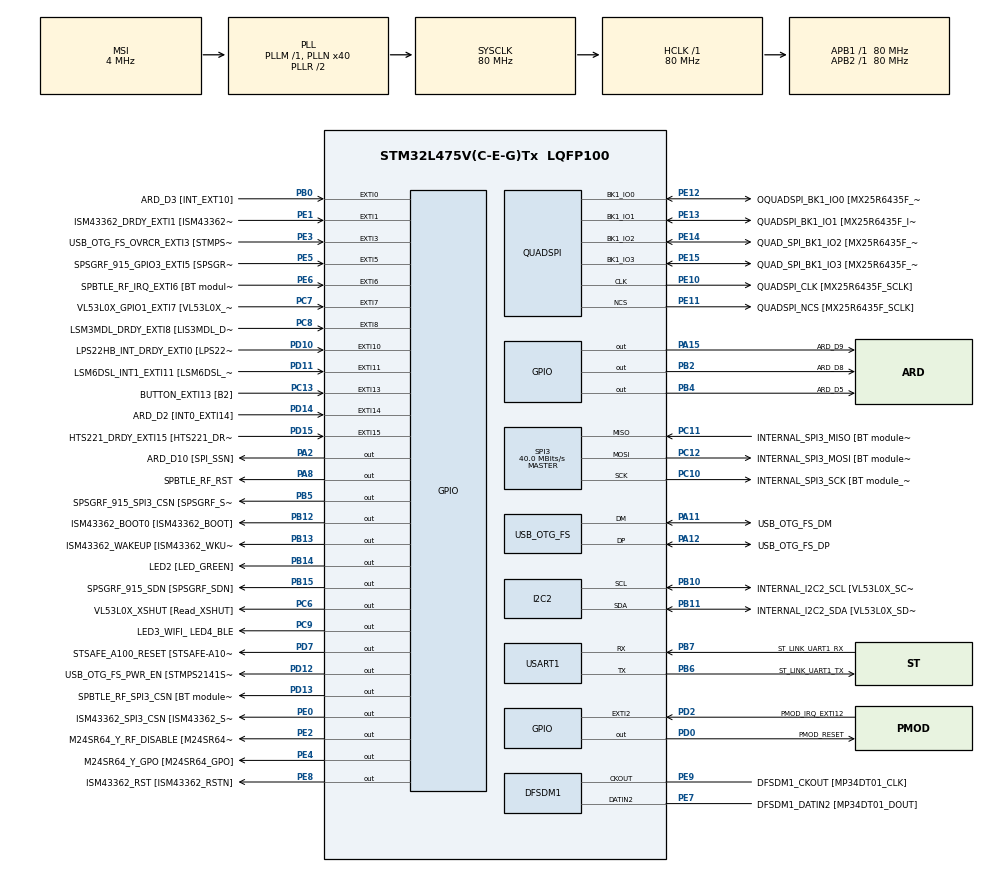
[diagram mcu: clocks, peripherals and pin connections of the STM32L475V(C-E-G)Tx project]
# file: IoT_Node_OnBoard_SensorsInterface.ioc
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Mcu.Family=STM32L4
Mcu.Name=STM32L475V(C-E-G)Tx
Mcu.Package=LQFP100
NVIC.EXTI15_10_IRQn=true\:0\:0\:false\:false\:true\:true\:true
NVIC.EXTI9_5_IRQn=true\:0\:0\:false\:false\:true\:true\:true
NVIC.PriorityGroup=NVIC_PRIORITYGROUP_4
PA0.GPIO_Label=ARD_D1 [UART4_TX]
PA0.Signal=UART4_TX
PA1.GPIO_Label=ARD_D0 [UART4_RX]
PA1.Signal=UART4_RX
PA10.GPIO_Label=USB_OTG_FS_ID
PA10.Signal=USB_OTG_FS_ID
PA11.GPIO_Label=USB_OTG_FS_DM
PA11.Mode=Device_Only
PA11.Signal=USB_OTG_FS_DM
PA12.GPIO_Label=USB_OTG_FS_DP
PA12.Mode=Device_Only
PA12.Signal=USB_OTG_FS_DP
PA13\ (JTMS-SWDIO).GPIO_Label=SYS_JTMS_SWDIO
PA13\ (JTMS-SWDIO).Mode=Serial_Wire
PA13\ (JTMS-SWDIO).Signal=SYS_JTMS-SWDIO
PA14\ (JTCK-SWCLK).GPIO_Label=SYS_JTCK_SWCLK
PA14\ (JTCK-SWCLK).Mode=Serial_Wire
PA14\ (JTCK-SWCLK).Signal=SYS_JTCK-SWCLK
PA15\ (JTDI).GPIO_Label=ARD_D9
PA15\ (JTDI).Signal=GPIO_Output
PA2.GPIO_Label=ARD_D10 [SPI_SSN]
PA2.Signal=GPIO_Output
PA3.GPIO_Label=ARD_D4
PA3.Signal=S_TIM2_CH4
PA4.GPIO_Label=ARD_D7
PA4.Signal=ADCx_IN9
PA5.GPIO_Label=ARD_D13 [SPI1_SCK]
PA5.Signal=SPI1_SCK
PA6.GPIO_Label=ARD_D12 [SPI1_MISO]
PA6.Signal=SPI1_MISO
PA7.GPIO_Label=ARD_D11 [SPI1_MOSI]
PA7.Signal=SPI1_MOSI
PA8.GPIO_Label=SPBTLE_RF_RST
PA8.Signal=GPIO_Output
PA9.GPIO_Label=USB_OTG_FS_VBUS [STMPS2141STR_OUT]
PA9.Signal=USB_OTG_FS_VBUS
PB0.GPIO_Label=ARD_D3 [INT_EXT10]
PB0.Signal=GPXTI0
PB1.GPIO_Label=ARD_D6 [ADC1_IN6]
PB1.Signal=ADCx_IN16
PB10.GPIO_Label=INTERNAL_I2C2_SCL [VL53L0X_SCL]
PB10.Mode=I2C
PB10.Signal=I2C2_SCL
PB11.GPIO_Label=INTERNAL_I2C2_SDA [VL53L0X_SDA]
PB11.Mode=I2C
PB11.Signal=I2C2_SDA
PB12.GPIO_Label=ISM43362_BOOT0 [ISM43362_BOOT]
PB12.Signal=GPIO_Output
PB13.GPIO_Label=ISM43362_WAKEUP [ISM43362_WKUP]
PB13.Signal=GPIO_Output
PB14.GPIO_Label=LED2 [LED_GREEN]
PB14.Signal=GPIO_Output
PB15.GPIO_Label=SPSGRF_915_SDN [SPSGRF_SDN]
PB15.Signal=GPIO_Output
PB2.GPIO_Label=ARD_D8
PB2.Signal=GPIO_Output
PB3\ (JTDO-TRACESWO).GPIO_Label=SYS_JTD0_SWO
PB3\ (JTDO-TRACESWO).Signal=SYS_JTDO-SWO
PB4\ (NJTRST).GPIO_Label=ARD_D5
PB4\ (NJTRST).Signal=GPIO_Output
PB5.GPIO_Label=SPSGRF_915_SPI3_CSN [SPSGRF_SPI_CS]
PB5.PinState=GPIO_PIN_SET
PB5.Signal=GPIO_Output
PB6.GPIO_Label=ST_LINK_UART1_TX
PB6.Mode=Asynchronous
PB6.Signal=USART1_TX
PB7.GPIO_Label=ST_LINK_UART1_RX
PB7.Mode=Asynchronous
PB7.Signal=USART1_RX
PB8.GPIO_Label=ARD_D15 [I2C1_SCL]
PB8.Signal=I2C1_SCL
PB9.GPIO_Label=ARD_D14 [I2C1_SDA]
PB9.Signal=I2C1_SDA
PC0.GPIO_Label=ARD_A5 [ADC]
PC0.Signal=ADCx_IN1
PC1.GPIO_Label=ARD_A4 [ADC]
PC1.Signal=ADCx_IN2
PC10.GPIO_Label=INTERNAL_SPI3_SCK [BT module_SPI_SCLK] [ISM43362_SCK]
PC10.Mode=Full_Duplex_Master
PC10.Signal=SPI3_SCK
PC11.GPIO_Label=INTERNAL_SPI3_MISO [BT module_SPI_MISO] [ISM43362_MISO]
PC11.Mode=Full_Duplex_Master
PC11.Signal=SPI3_MISO
PC12.GPIO_Label=INTERNAL_SPI3_MOSI [BT module_SPI_MOSI] [ISM43362_MOSI]
PC12.Mode=Full_Duplex_Master
PC12.Signal=SPI3_MOSI
PC13.GPIO_Label=BUTTON_EXTI13 [B2]
PC13.GPIO_ModeDefaultEXTI=GPIO_MODE_IT_FALLING
PC13.Signal=GPXTI13
PC14-OSC32_IN\ (PC14).Mode=LSE-External-Oscillator
PC14-OSC32_IN\ (PC14).Signal=RCC_OSC32_IN
PC15-OSC32_OUT\ (PC15).Mode=LSE-External-Oscillator
PC15-OSC32_OUT\ (PC15).Signal=RCC_OSC32_OUT
PC2.GPIO_Label=ARD_A3 [ADC]
PC2.Signal=ADCx_IN3
PC3.GPIO_Label=ARD_A2 [ADC]
PC3.Signal=ADCx_IN4
PC4.GPIO_Label=ARD_A1 [ADC]
PC4.Signal=ADCx_IN13
PC5.GPIO_Label=ARD_A0 [ADC]
PC5.Signal=ADCx_IN14
PC6.GPIO_Label=VL53L0X_XSHUT [Read_XSHUT]
PC6.Signal=GPIO_Output
PC7.GPIO_Label=VL53L0X_GPIO1_EXTI7 [VL53L0X_GPIO1]
PC7.Signal=GPXTI7
PC8.GPIO_Label=LSM3MDL_DRDY_EXTI8 [LIS3MDL_DRDY]
PC8.Signal=GPXTI8
PC9.GPIO_Label=LED3_WIFI_ LED4_BLE
PC9.Signal=GPIO_Output
PD0.GPIO_Label=PMOD_RESET
PD0.Signal=GPIO_Output
PD1.GPIO_Label=PMOD_SPI2_SCK
PD1.Signal=SPI2_SCK
PD10.GPIO_Label=LPS22HB_INT_DRDY_EXTI0 [LPS22HB_INT_DRDY] 
PD10.Signal=GPXTI10
PD11.GPIO_Label=LSM6DSL_INT1_EXTI11 [LSM6DSL_INT1]
PD11.Signal=GPXTI11
PD12.GPIO_Label=USB_OTG_FS_PWR_EN [STMPS2141STR_EN]
PD12.Signal=GPIO_Output
PD13.GPIO_Label=SPBTLE_RF_SPI3_CSN [BT module_SPI_CS]
PD13.PinState=GPIO_PIN_SET
PD13.Signal=GPIO_Output
PD14.GPIO_Label=ARD_D2 [INT0_EXTI14]
PD14.Signal=GPXTI14
PD15.GPIO_Label=HTS221_DRDY_EXTI15 [HTS221_DRDY]
PD15.Signal=GPXTI15
PD2.GPIO_Label=PMOD_IRQ_EXTI12
PD2.Signal=GPXTI2
PD3.GPIO_Label=PMOD_UART2_CTS
PD3.Signal=USART2_CTS
PD4.GPIO_Label=PMOD_UART2_RTS
PD4.Signal=USART2_RTS
PD5.GPIO_Label=PMOD_UART2_TX
PD5.Signal=USART2_TX
PD6.GPIO_Label=PMOD_UART2_RX
PD6.Signal=USART2_RX
PD7.GPIO_Label=STSAFE_A100_RESET [STSAFE-A100_RESET]
PD7.Signal=GPIO_Output
PD8.GPIO_Label=INTERNAL_UART3_TX [ISM43362_RX]
PD8.Signal=USART3_TX
PD9.GPIO_Label=INTERNAL_UART3_RX [ISM43362_TX]
PD9.Signal=USART3_RX
PE0.GPIO_Label=ISM43362_SPI3_CSN [ISM43362_SSN]
PE0.PinState=GPIO_PIN_SET
PE0.Signal=GPIO_Output
PE1.GPIO_Label=ISM43362_DRDY_EXTI1 [ISM43362_DATARDY]
PE1.Signal=GPXTI1
PE10.GPIO_Label=QUADSPI_CLK [MX25R6435F_SCLK]
PE10.Mode=Single Bank
PE10.Signal=QUADSPI_CLK
PE11.GPIO_Label=QUADSPI_NCS [MX25R6435F_SCLK]
PE11.Mode=Single Bank
PE11.Signal=QUADSPI_NCS
PE12.GPIO_Label=OQUADSPI_BK1_IO0 [MX25R6435F_IO0]
PE12.Mode=Single Bank
PE12.Signal=QUADSPI_BK1_IO0
PE13.GPIO_Label=QUADSPI_BK1_IO1 [MX25R6435F_IO1]
PE13.Mode=Single Bank
PE13.Signal=QUADSPI_BK1_IO1
PE14.GPIO_Label=QUAD_SPI_BK1_IO2 [MX25R6435F_IO2]
PE14.Mode=Single Bank
PE14.Signal=QUADSPI_BK1_IO2
PE15.GPIO_Label=QUAD_SPI_BK1_IO3 [MX25R6435F_IO3]
PE15.Mode=Single Bank
PE15.Signal=QUADSPI_BK1_IO3
PE2.GPIO_Label=M24SR64_Y_RF_DISABLE [M24SR64_RFDIS]
PE2.Signal=GPIO_Output
PE3.GPIO_Label=USB_OTG_FS_OVRCR_EXTI3 [STMPS2141STR_FAULT]
PE3.Signal=GPXTI3
PE4.GPIO_Label=M24SR64_Y_GPO [M24SR64_GPO]
PE4.Signal=GPIO_Output
PE5.GPIO_Label=SPSGRF_915_GPIO3_EXTI5 [SPSGRF_GPIO_3]
PE5.Signal=GPXTI5
PE6.GPIO_Label=SPBTLE_RF_IRQ_EXTI6 [BT module_SPI_IRQ]
PE6.Signal=GPXTI6
PE7.GPIO_Label=DFSDM1_DATIN2 [MP34DT01_DOUT]
PE7.Signal=S_DATAIN2DFSDM1
PE8.GPIO_Label=ISM43362_RST [ISM43362_RSTN]
PE8.Signal=GPIO_Output
PE9.GPIO_Label=DFSDM1_CKOUT [MP34DT01_CLK]
PE9.Signal=S_CKOUTDFSDM1
ProjectManager.HeapSize=0x200
ProjectManager.StackSize=0x400
ProjectManager.TargetToolchain=SW4STM32
RCC.ADCFreq_Value=48000000
RCC.AHBFreq_Value=80000000
RCC.APB1Freq_Value=80000000
RCC.APB1TimFreq_Value=80000000
RCC.APB2Freq_Value=80000000
RCC.APB2TimFreq_Value=80000000
RCC.CortexFreq_Value=80000000
RCC.HCLKFreq_Value=80000000
RCC.HSE_VALUE=8000000
RCC.HSI_VALUE=16000000
RCC.MSI_VALUE=4000000
RCC.PLLN=40
RCC.PLLSAI1N=24
RCC.SYSCLKFreq_VALUE=80000000
RCC.SYSCLKSource=RCC_SYSCLKSOURCE_PLLCLK
RCC.USBFreq_Value=48000000
RCC.VCOOutputFreq_Value=160000000
SH.ADCx_IN1.0=ADC1_IN1
SH.ADCx_IN13.0=ADC1_IN13
SH.ADCx_IN14.0=ADC1_IN14
SH.ADCx_IN16.0=ADC1_IN16
SH.ADCx_IN2.0=ADC1_IN2
SH.ADCx_IN3.0=ADC1_IN3
SH.ADCx_IN4.0=ADC1_IN4
SH.ADCx_IN9.0=ADC1_IN9
SH.S_CKOUTDFSDM1.0=DFSDM1_CKOUT,CKOUT
SH.S_CKOUTDFSDM1.1=DFSDM1_CKOUT,PDM_SPI_Input_from_ch12_and_Internal_Clock
SH.S_DATAIN2DFSDM1.0=DFSDM1_DATIN2,PDM_SPI_Input_from_ch12_and_Internal_Clock
SH.S_TIM2_CH4.0=TIM2_CH4
SPI3.CalculateBaudRate=40.0 MBits/s
SPI3.Direction=SPI_DIRECTION_2LINES
SPI3.Mode=SPI_MODE_MASTER
SPI3.VirtualType=VM_MASTER
USART1.VirtualMode-Asynchronous=VM_ASYNC
USB_OTG_FS.VirtualMode=Device_Only
board=B-L475E-IOT01A1

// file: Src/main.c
/* USER CODE BEGIN Header */
/**
  ******************************************************************************
  * @file           : main.c
  * @brief          : Main program body
  ******************************************************************************
  * @attention
  *
  * <h2><center>&copy; Copyright (c) 2021 STMicroelectronics.
  * All rights reserved.</center></h2>
  *
  * This software component is licensed by ST under BSD 3-Clause license,
  * the "License"; You may not use this file except in compliance with the
  * License. You may obtain a copy of the License at:
  *                        opensource.org/licenses/BSD-3-Clause
  *
  ******************************************************************************
  */
/* USER CODE END Header */

#include "main.h"

/* USER CODE BEGIN Includes */

#include "stm32l475e_iot01.h"
#include "stm32l475e_iot01_tsensor.h"
#include "stm32l475e_iot01_accelero.h"
#include "stm32l475e_iot01_gyro.h"
#include "stm32l475e_iot01_hsensor.h"
#include "stm32l475e_iot01_magneto.h"
#include "stm32l475e_iot01_psensor.h"
#include <math.h>

/* USER CODE END Includes */

DFSDM_Channel_HandleTypeDef hdfsdm1_channel1;

I2C_HandleTypeDef hi2c2;

QSPI_HandleTypeDef hqspi;

SPI_HandleTypeDef hspi3;

UART_HandleTypeDef huart1;

PCD_HandleTypeDef hpcd_USB_OTG_FS;

/* USER CODE BEGIN PV */

float temp_value = 0; // Measured temperature value
float humidity = 0;   // Measured humidity value
float pressure = 0;   // Measured pressure value

char str_tmp[500] = ""; // Formatted message to display the temperature value
uint8_t msg1[] = "****** Sensor values measurement ******\n\n\r";
uint8_t msg2[] = "=====> Initialize all the sensors \r\n";
uint8_t msg3[] = "=====> All the sensors are initialized \r\n ";

/* USER CODE END PV */

void SystemClock_Config(void);
static void MX_GPIO_Init(void);
static void MX_DFSDM1_Init(void);
static void MX_I2C2_Init(void);
static void MX_QUADSPI_Init(void);
static void MX_SPI3_Init(void);
static void MX_USART1_UART_Init(void);
static void MX_USB_OTG_FS_PCD_Init(void);

int main(void)
{

  /* MCU Configuration--------------------------------------------------------*/

  /* Reset of all peripherals, Initializes the Flash interface and the Systick. */
  HAL_Init();

  /* Configure the system clock */
  SystemClock_Config();

  /* Initialize all configured peripherals */
  MX_GPIO_Init();
  MX_DFSDM1_Init();
  MX_I2C2_Init();
  MX_QUADSPI_Init();
  MX_SPI3_Init();
  MX_USART1_UART_Init();
  MX_USB_OTG_FS_PCD_Init();
  /* USER CODE BEGIN 2 */

  HAL_UART_Transmit(&huart1,msg1,sizeof(msg1),1000);
  HAL_UART_Transmit(&huart1,msg2,sizeof(msg2),1000);
  BSP_TSENSOR_Init();
  BSP_ACCELERO_Init();
  BSP_GYRO_Init();
  BSP_PSENSOR_Init();
  BSP_MAGNETO_Init();
  HAL_UART_Transmit(&huart1,msg3,sizeof(msg3),1000);

  /* USER CODE END 2 */

  /* Infinite loop */
  while (1)
  {

    /* USER CODE BEGIN 3 */

	   temp_value = BSP_TSENSOR_ReadTemp();
	   int tmpInt1 = temp_value;
	   float tmpFrac = temp_value - tmpInt1;
	   int tmpInt2 = trunc(tmpFrac * 100);

	   humidity = BSP_HSENSOR_ReadHumidity();
	   int HumidityInt1 = humidity;
	   float HumFrac = humidity - HumidityInt1;
	   int HumidityInt2 = trunc(HumFrac * 100);

	   pressure = BSP_PSENSOR_ReadPressure();
	   int PreInt1 = pressure;
	   float PreFrac = pressure - PreInt1;
	   int PreInt2 = trunc(PreFrac * 100);

	   snprintf(str_tmp,500," TEMPERATURE = %d.%02d  HUMIDITY = %d.%02d  PRESSURE = %d.%02d \n\r", tmpInt1, tmpInt2, HumidityInt1, HumidityInt2, PreInt1, PreInt2);
	   HAL_UART_Transmit(&huart1,( uint8_t * )str_tmp,sizeof(str_tmp),1000);

	   HAL_Delay(3000);

  }
  /* USER CODE END 3 */
}

void SystemClock_Config(void)
{
  RCC_OscInitTypeDef RCC_OscInitStruct = {0};
  RCC_ClkInitTypeDef RCC_ClkInitStruct = {0};
  RCC_PeriphCLKInitTypeDef PeriphClkInit = {0};

  /** Configure LSE Drive Capability
  */
  HAL_PWR_EnableBkUpAccess();
  __HAL_RCC_LSEDRIVE_CONFIG(RCC_LSEDRIVE_LOW);
  /** Initializes the CPU, AHB and APB busses clocks
  */
  RCC_OscInitStruct.OscillatorType = RCC_OSCILLATORTYPE_LSE|RCC_OSCILLATORTYPE_MSI;
  RCC_OscInitStruct.LSEState = RCC_LSE_ON;
  RCC_OscInitStruct.MSIState = RCC_MSI_ON;
  RCC_OscInitStruct.MSICalibrationValue = 0;
  RCC_OscInitStruct.MSIClockRange = RCC_MSIRANGE_6;
  RCC_OscInitStruct.PLL.PLLState = RCC_PLL_ON;
  RCC_OscInitStruct.PLL.PLLSource = RCC_PLLSOURCE_MSI;
  RCC_OscInitStruct.PLL.PLLM = 1;
  RCC_OscInitStruct.PLL.PLLN = 40;
  RCC_OscInitStruct.PLL.PLLP = RCC_PLLP_DIV7;
  RCC_OscInitStruct.PLL.PLLQ = RCC_PLLQ_DIV2;
  RCC_OscInitStruct.PLL.PLLR = RCC_PLLR_DIV2;
  if (HAL_RCC_OscConfig(&RCC_OscInitStruct) != HAL_OK)
  {
    Error_Handler();
  }
  /** Initializes the CPU, AHB and APB busses clocks
  */
  RCC_ClkInitStruct.ClockType = RCC_CLOCKTYPE_HCLK|RCC_CLOCKTYPE_SYSCLK
                              |RCC_CLOCKTYPE_PCLK1|RCC_CLOCKTYPE_PCLK2;
  RCC_ClkInitStruct.SYSCLKSource = RCC_SYSCLKSOURCE_PLLCLK;
  RCC_ClkInitStruct.AHBCLKDivider = RCC_SYSCLK_DIV1;
  RCC_ClkInitStruct.APB1CLKDivider = RCC_HCLK_DIV1;
  RCC_ClkInitStruct.APB2CLKDivider = RCC_HCLK_DIV1;

  if (HAL_RCC_ClockConfig(&RCC_ClkInitStruct, FLASH_LATENCY_4) != HAL_OK)
  {
    Error_Handler();
  }
  PeriphClkInit.PeriphClockSelection = RCC_PERIPHCLK_USART1|RCC_PERIPHCLK_I2C2
                              |RCC_PERIPHCLK_DFSDM1|RCC_PERIPHCLK_USB;
  PeriphClkInit.Usart1ClockSelection = RCC_USART1CLKSOURCE_PCLK2;
  PeriphClkInit.I2c2ClockSelection = RCC_I2C2CLKSOURCE_PCLK1;
  PeriphClkInit.Dfsdm1ClockSelection = RCC_DFSDM1CLKSOURCE_PCLK;
  PeriphClkInit.UsbClockSelection = RCC_USBCLKSOURCE_PLLSAI1;
  PeriphClkInit.PLLSAI1.PLLSAI1Source = RCC_PLLSOURCE_MSI;
  PeriphClkInit.PLLSAI1.PLLSAI1M = 1;
  PeriphClkInit.PLLSAI1.PLLSAI1N = 24;
  PeriphClkInit.PLLSAI1.PLLSAI1P = RCC_PLLP_DIV7;
  PeriphClkInit.PLLSAI1.PLLSAI1Q = RCC_PLLQ_DIV2;
  PeriphClkInit.PLLSAI1.PLLSAI1R = RCC_PLLR_DIV2;
  PeriphClkInit.PLLSAI1.PLLSAI1ClockOut = RCC_PLLSAI1_48M2CLK;
  if (HAL_RCCEx_PeriphCLKConfig(&PeriphClkInit) != HAL_OK)
  {
    Error_Handler();
  }
  /** Configure the main internal regulator output voltage
  */
  if (HAL_PWREx_ControlVoltageScaling(PWR_REGULATOR_VOLTAGE_SCALE1) != HAL_OK)
  {
    Error_Handler();
  }
  /** Enable MSI Auto calibration
  */
  HAL_RCCEx_EnableMSIPLLMode();
}

static void MX_DFSDM1_Init(void)
{

  hdfsdm1_channel1.Instance = DFSDM1_Channel1;
  hdfsdm1_channel1.Init.OutputClock.Activation = ENABLE;
  hdfsdm1_channel1.Init.OutputClock.Selection = DFSDM_CHANNEL_OUTPUT_CLOCK_SYSTEM;
  hdfsdm1_channel1.Init.OutputClock.Divider = 2;
  hdfsdm1_channel1.Init.Input.Multiplexer = DFSDM_CHANNEL_EXTERNAL_INPUTS;
  hdfsdm1_channel1.Init.Input.DataPacking = DFSDM_CHANNEL_STANDARD_MODE;
  hdfsdm1_channel1.Init.Input.Pins = DFSDM_CHANNEL_FOLLOWING_CHANNEL_PINS;
  hdfsdm1_channel1.Init.SerialInterface.Type = DFSDM_CHANNEL_SPI_RISING;
  hdfsdm1_channel1.Init.SerialInterface.SpiClock = DFSDM_CHANNEL_SPI_CLOCK_INTERNAL;
  hdfsdm1_channel1.Init.Awd.FilterOrder = DFSDM_CHANNEL_FASTSINC_ORDER;
  hdfsdm1_channel1.Init.Awd.Oversampling = 1;
  hdfsdm1_channel1.Init.Offset = 0;
  hdfsdm1_channel1.Init.RightBitShift = 0x00;
  if (HAL_DFSDM_ChannelInit(&hdfsdm1_channel1) != HAL_OK)
  {
    Error_Handler();
  }

}

static void MX_I2C2_Init(void)
{

  hi2c2.Instance = I2C2;
  hi2c2.Init.Timing = 0x10909CEC;
  hi2c2.Init.OwnAddress1 = 0;
  hi2c2.Init.AddressingMode = I2C_ADDRESSINGMODE_7BIT;
  hi2c2.Init.DualAddressMode = I2C_DUALADDRESS_DISABLE;
  hi2c2.Init.OwnAddress2 = 0;
  hi2c2.Init.OwnAddress2Masks = I2C_OA2_NOMASK;
  hi2c2.Init.GeneralCallMode = I2C_GENERALCALL_DISABLE;
  hi2c2.Init.NoStretchMode = I2C_NOSTRETCH_DISABLE;
  if (HAL_I2C_Init(&hi2c2) != HAL_OK)
  {
    Error_Handler();
  }
  /** Configure Analogue filter
  */
  if (HAL_I2CEx_ConfigAnalogFilter(&hi2c2, I2C_ANALOGFILTER_ENABLE) != HAL_OK)
  {
    Error_Handler();
  }
  /** Configure Digital filter
  */
  if (HAL_I2CEx_ConfigDigitalFilter(&hi2c2, 0) != HAL_OK)
  {
    Error_Handler();
  }

}

static void MX_QUADSPI_Init(void)
{

  /* QUADSPI parameter configuration*/
  hqspi.Instance = QUADSPI;
  hqspi.Init.ClockPrescaler = 255;
  hqspi.Init.FifoThreshold = 1;
  hqspi.Init.SampleShifting = QSPI_SAMPLE_SHIFTING_NONE;
  hqspi.Init.FlashSize = 1;
  hqspi.Init.ChipSelectHighTime = QSPI_CS_HIGH_TIME_1_CYCLE;
  hqspi.Init.ClockMode = QSPI_CLOCK_MODE_0;
  if (HAL_QSPI_Init(&hqspi) != HAL_OK)
  {
    Error_Handler();
  }

}

static void MX_SPI3_Init(void)
{

  /* SPI3 parameter configuration*/
  hspi3.Instance = SPI3;
  hspi3.Init.Mode = SPI_MODE_MASTER;
  hspi3.Init.Direction = SPI_DIRECTION_2LINES;
  hspi3.Init.DataSize = SPI_DATASIZE_4BIT;
  hspi3.Init.CLKPolarity = SPI_POLARITY_LOW;
  hspi3.Init.CLKPhase = SPI_PHASE_1EDGE;
  hspi3.Init.NSS = SPI_NSS_SOFT;
  hspi3.Init.BaudRatePrescaler = SPI_BAUDRATEPRESCALER_2;
  hspi3.Init.FirstBit = SPI_FIRSTBIT_MSB;
  hspi3.Init.TIMode = SPI_TIMODE_DISABLE;
  hspi3.Init.CRCCalculation = SPI_CRCCALCULATION_DISABLE;
  hspi3.Init.CRCPolynomial = 7;
  hspi3.Init.CRCLength = SPI_CRC_LENGTH_DATASIZE;
  hspi3.Init.NSSPMode = SPI_NSS_PULSE_ENABLE;
  if (HAL_SPI_Init(&hspi3) != HAL_OK)
  {
    Error_Handler();
  }

}

static void MX_USART1_UART_Init(void)
{

  huart1.Instance = USART1;
  huart1.Init.BaudRate = 115200;
  huart1.Init.WordLength = UART_WORDLENGTH_8B;
  huart1.Init.StopBits = UART_STOPBITS_1;
  huart1.Init.Parity = UART_PARITY_NONE;
  huart1.Init.Mode = UART_MODE_TX_RX;
  huart1.Init.HwFlowCtl = UART_HWCONTROL_NONE;
  huart1.Init.OverSampling = UART_OVERSAMPLING_16;
  huart1.Init.OneBitSampling = UART_ONE_BIT_SAMPLE_DISABLE;
  huart1.AdvancedInit.AdvFeatureInit = UART_ADVFEATURE_NO_INIT;
  if (HAL_UART_Init(&huart1) != HAL_OK)
  {
    Error_Handler();
  }

}

static void MX_USB_OTG_FS_PCD_Init(void)
{

  hpcd_USB_OTG_FS.Instance = USB_OTG_FS;
  hpcd_USB_OTG_FS.Init.dev_endpoints = 6;
  hpcd_USB_OTG_FS.Init.speed = PCD_SPEED_FULL;
  hpcd_USB_OTG_FS.Init.phy_itface = PCD_PHY_EMBEDDED;
  hpcd_USB_OTG_FS.Init.Sof_enable = DISABLE;
  hpcd_USB_OTG_FS.Init.low_power_enable = DISABLE;
  hpcd_USB_OTG_FS.Init.lpm_enable = DISABLE;
  hpcd_USB_OTG_FS.Init.battery_charging_enable = DISABLE;
  hpcd_USB_OTG_FS.Init.use_dedicated_ep1 = DISABLE;
  hpcd_USB_OTG_FS.Init.vbus_sensing_enable = DISABLE;
  if (HAL_PCD_Init(&hpcd_USB_OTG_FS) != HAL_OK)
  {
    Error_Handler();
  }

}

static void MX_GPIO_Init(void)
{
  GPIO_InitTypeDef GPIO_InitStruct = {0};

  /* GPIO Ports Clock Enable */
  __HAL_RCC_GPIOE_CLK_ENABLE();
  __HAL_RCC_GPIOC_CLK_ENABLE();
  __HAL_RCC_GPIOA_CLK_ENABLE();
  __HAL_RCC_GPIOB_CLK_ENABLE();
  __HAL_RCC_GPIOD_CLK_ENABLE();

  /*Configure GPIO pin Output Level */
  HAL_GPIO_WritePin(GPIOE, M24SR64_Y_RF_DISABLE_Pin|M24SR64_Y_GPO_Pin|ISM43362_RST_Pin, GPIO_PIN_RESET);

  /*Configure GPIO pin Output Level */
  HAL_GPIO_WritePin(GPIOA, ARD_D10_Pin|SPBTLE_RF_RST_Pin|ARD_D9_Pin, GPIO_PIN_RESET);

  /*Configure GPIO pin Output Level */
  HAL_GPIO_WritePin(GPIOB, ARD_D8_Pin|ISM43362_BOOT0_Pin|ISM43362_WAKEUP_Pin|LED2_Pin
                          |SPSGRF_915_SDN_Pin|ARD_D5_Pin, GPIO_PIN_RESET);

  /*Configure GPIO pin Output Level */
  HAL_GPIO_WritePin(GPIOD, USB_OTG_FS_PWR_EN_Pin|PMOD_RESET_Pin|STSAFE_A100_RESET_Pin, GPIO_PIN_RESET);

  /*Configure GPIO pin Output Level */
  HAL_GPIO_WritePin(SPBTLE_RF_SPI3_CSN_GPIO_Port, SPBTLE_RF_SPI3_CSN_Pin, GPIO_PIN_SET);

  /*Configure GPIO pin Output Level */
  HAL_GPIO_WritePin(GPIOC, VL53L0X_XSHUT_Pin|LED3_WIFI__LED4_BLE_Pin, GPIO_PIN_RESET);

  /*Configure GPIO pin Output Level */
  HAL_GPIO_WritePin(SPSGRF_915_SPI3_CSN_GPIO_Port, SPSGRF_915_SPI3_CSN_Pin, GPIO_PIN_SET);

  /*Configure GPIO pin Output Level */
  HAL_GPIO_WritePin(ISM43362_SPI3_CSN_GPIO_Port, ISM43362_SPI3_CSN_Pin, GPIO_PIN_SET);

  /*Configure GPIO pins : M24SR64_Y_RF_DISABLE_Pin M24SR64_Y_GPO_Pin ISM43362_RST_Pin ISM43362_SPI3_CSN_Pin */
  GPIO_InitStruct.Pin = M24SR64_Y_RF_DISABLE_Pin|M24SR64_Y_GPO_Pin|ISM43362_RST_Pin|ISM43362_SPI3_CSN_Pin;
  GPIO_InitStruct.Mode = GPIO_MODE_OUTPUT_PP;
  GPIO_InitStruct.Pull = GPIO_NOPULL;
  GPIO_InitStruct.Speed = GPIO_SPEED_FREQ_LOW;
  HAL_GPIO_Init(GPIOE, &GPIO_InitStruct);

  /*Configure GPIO pins : USB_OTG_FS_OVRCR_EXTI3_Pin SPSGRF_915_GPIO3_EXTI5_Pin SPBTLE_RF_IRQ_EXTI6_Pin ISM43362_DRDY_EXTI1_Pin */
  GPIO_InitStruct.Pin = USB_OTG_FS_OVRCR_EXTI3_Pin|SPSGRF_915_GPIO3_EXTI5_Pin|SPBTLE_RF_IRQ_EXTI6_Pin|ISM43362_DRDY_EXTI1_Pin;
  GPIO_InitStruct.Mode = GPIO_MODE_IT_RISING;
  GPIO_InitStruct.Pull = GPIO_NOPULL;
  HAL_GPIO_Init(GPIOE, &GPIO_InitStruct);

  /*Configure GPIO pin : BUTTON_EXTI13_Pin */
  GPIO_InitStruct.Pin = BUTTON_EXTI13_Pin;
  GPIO_InitStruct.Mode = GPIO_MODE_IT_FALLING;
  GPIO_InitStruct.Pull = GPIO_NOPULL;
  HAL_GPIO_Init(BUTTON_EXTI13_GPIO_Port, &GPIO_InitStruct);

  /*Configure GPIO pins : ARD_A5_Pin ARD_A4_Pin ARD_A3_Pin ARD_A2_Pin
                           ARD_A1_Pin ARD_A0_Pin */
  GPIO_InitStruct.Pin = ARD_A5_Pin|ARD_A4_Pin|ARD_A3_Pin|ARD_A2_Pin
                          |ARD_A1_Pin|ARD_A0_Pin;
  GPIO_InitStruct.Mode = GPIO_MODE_ANALOG_ADC_CONTROL;
  GPIO_InitStruct.Pull = GPIO_NOPULL;
  HAL_GPIO_Init(GPIOC, &GPIO_InitStruct);

  /*Configure GPIO pins : ARD_D1_Pin ARD_D0_Pin */
  GPIO_InitStruct.Pin = ARD_D1_Pin|ARD_D0_Pin;
  GPIO_InitStruct.Mode = GPIO_MODE_AF_PP;
  GPIO_InitStruct.Pull = GPIO_NOPULL;
  GPIO_InitStruct.Speed = GPIO_SPEED_FREQ_VERY_HIGH;
  GPIO_InitStruct.Alternate = GPIO_AF8_UART4;
  HAL_GPIO_Init(GPIOA, &GPIO_InitStruct);

  /*Configure GPIO pins : ARD_D10_Pin SPBTLE_RF_RST_Pin ARD_D9_Pin */
  GPIO_InitStruct.Pin = ARD_D10_Pin|SPBTLE_RF_RST_Pin|ARD_D9_Pin;
  GPIO_InitStruct.Mode = GPIO_MODE_OUTPUT_PP;
  GPIO_InitStruct.Pull = GPIO_NOPULL;
  GPIO_InitStruct.Speed = GPIO_SPEED_FREQ_LOW;
  HAL_GPIO_Init(GPIOA, &GPIO_InitStruct);

  /*Configure GPIO pin : ARD_D4_Pin */
  GPIO_InitStruct.Pin = ARD_D4_Pin;
  GPIO_InitStruct.Mode = GPIO_MODE_AF_PP;
  GPIO_InitStruct.Pull = GPIO_NOPULL;
  GPIO_InitStruct.Speed = GPIO_SPEED_FREQ_LOW;
  GPIO_InitStruct.Alternate = GPIO_AF1_TIM2;
  HAL_GPIO_Init(ARD_D4_GPIO_Port, &GPIO_InitStruct);

  /*Configure GPIO pin : ARD_D7_Pin */
  GPIO_InitStruct.Pin = ARD_D7_Pin;
  GPIO_InitStruct.Mode = GPIO_MODE_ANALOG_ADC_CONTROL;
  GPIO_InitStruct.Pull = GPIO_NOPULL;
  HAL_GPIO_Init(ARD_D7_GPIO_Port, &GPIO_InitStruct);

  /*Configure GPIO pins : ARD_D13_Pin ARD_D12_Pin ARD_D11_Pin */
  GPIO_InitStruct.Pin = ARD_D13_Pin|ARD_D12_Pin|ARD_D11_Pin;
  GPIO_InitStruct.Mode = GPIO_MODE_AF_PP;
  GPIO_InitStruct.Pull = GPIO_NOPULL;
  GPIO_InitStruct.Speed = GPIO_SPEED_FREQ_VERY_HIGH;
  GPIO_InitStruct.Alternate = GPIO_AF5_SPI1;
  HAL_GPIO_Init(GPIOA, &GPIO_InitStruct);

  /*Configure GPIO pin : ARD_D3_Pin */
  GPIO_InitStruct.Pin = ARD_D3_Pin;
  GPIO_InitStruct.Mode = GPIO_MODE_IT_RISING;
  GPIO_InitStruct.Pull = GPIO_NOPULL;
  HAL_GPIO_Init(ARD_D3_GPIO_Port, &GPIO_InitStruct);

  /*Configure GPIO pin : ARD_D6_Pin */
  GPIO_InitStruct.Pin = ARD_D6_Pin;
  GPIO_InitStruct.Mode = GPIO_MODE_ANALOG_ADC_CONTROL;
  GPIO_InitStruct.Pull = GPIO_NOPULL;
  HAL_GPIO_Init(ARD_D6_GPIO_Port, &GPIO_InitStruct);

  /*Configure GPIO pins : ARD_D8_Pin ISM43362_BOOT0_Pin ISM43362_WAKEUP_Pin LED2_Pin
                           SPSGRF_915_SDN_Pin ARD_D5_Pin SPSGRF_915_SPI3_CSN_Pin */
  GPIO_InitStruct.Pin = ARD_D8_Pin|ISM43362_BOOT0_Pin|ISM43362_WAKEUP_Pin|LED2_Pin
                          |SPSGRF_915_SDN_Pin|ARD_D5_Pin|SPSGRF_915_SPI3_CSN_Pin;
  GPIO_InitStruct.Mode = GPIO_MODE_OUTPUT_PP;
  GPIO_InitStruct.Pull = GPIO_NOPULL;
  GPIO_InitStruct.Speed = GPIO_SPEED_FREQ_LOW;
  HAL_GPIO_Init(GPIOB, &GPIO_InitStruct);

  /*Configure GPIO pins : INTERNAL_UART3_TX_Pin INTERNAL_UART3_RX_Pin */
  GPIO_InitStruct.Pin = INTERNAL_UART3_TX_Pin|INTERNAL_UART3_RX_Pin;
  GPIO_InitStruct.Mode = GPIO_MODE_AF_PP;
  GPIO_InitStruct.Pull = GPIO_NOPULL;
  GPIO_InitStruct.Speed = GPIO_SPEED_FREQ_VERY_HIGH;
  GPIO_InitStruct.Alternate = GPIO_AF7_USART3;
  HAL_GPIO_Init(GPIOD, &GPIO_InitStruct);

  /*Configure GPIO pins : LPS22HB_INT_DRDY_EXTI0_Pin LSM6DSL_INT1_EXTI11_Pin ARD_D2_Pin HTS221_DRDY_EXTI15_Pin
                           PMOD_IRQ_EXTI12_Pin */
  GPIO_InitStruct.Pin = LPS22HB_INT_DRDY_EXTI0_Pin|LSM6DSL_INT1_EXTI11_Pin|ARD_D2_Pin|HTS221_DRDY_EXTI15_Pin
                          |PMOD_IRQ_EXTI12_Pin;
  GPIO_InitStruct.Mode = GPIO_MODE_IT_RISING;
  GPIO_InitStruct.Pull = GPIO_NOPULL;
  HAL_GPIO_Init(GPIOD, &GPIO_InitStruct);

  /*Configure GPIO pins : USB_OTG_FS_PWR_EN_Pin SPBTLE_RF_SPI3_CSN_Pin PMOD_RESET_Pin STSAFE_A100_RESET_Pin */
  GPIO_InitStruct.Pin = USB_OTG_FS_PWR_EN_Pin|SPBTLE_RF_SPI3_CSN_Pin|PMOD_RESET_Pin|STSAFE_A100_RESET_Pin;
  GPIO_InitStruct.Mode = GPIO_MODE_OUTPUT_PP;
  GPIO_InitStruct.Pull = GPIO_NOPULL;
  GPIO_InitStruct.Speed = GPIO_SPEED_FREQ_LOW;
  HAL_GPIO_Init(GPIOD, &GPIO_InitStruct);

  /*Configure GPIO pins : VL53L0X_XSHUT_Pin LED3_WIFI__LED4_BLE_Pin */
  GPIO_InitStruct.Pin = VL53L0X_XSHUT_Pin|LED3_WIFI__LED4_BLE_Pin;
  GPIO_InitStruct.Mode = GPIO_MODE_OUTPUT_PP;
  GPIO_InitStruct.Pull = GPIO_NOPULL;
  GPIO_InitStruct.Speed = GPIO_SPEED_FREQ_LOW;
  HAL_GPIO_Init(GPIOC, &GPIO_InitStruct);

  /*Configure GPIO pins : VL53L0X_GPIO1_EXTI7_Pin LSM3MDL_DRDY_EXTI8_Pin */
  GPIO_InitStruct.Pin = VL53L0X_GPIO1_EXTI7_Pin|LSM3MDL_DRDY_EXTI8_Pin;
  GPIO_InitStruct.Mode = GPIO_MODE_IT_RISING;
  GPIO_InitStruct.Pull = GPIO_NOPULL;
  HAL_GPIO_Init(GPIOC, &GPIO_InitStruct);

  /*Configure GPIO pin : PMOD_SPI2_SCK_Pin */
  GPIO_InitStruct.Pin = PMOD_SPI2_SCK_Pin;
  GPIO_InitStruct.Mode = GPIO_MODE_AF_PP;
  GPIO_InitStruct.Pull = GPIO_NOPULL;
  GPIO_InitStruct.Speed = GPIO_SPEED_FREQ_VERY_HIGH;
  GPIO_InitStruct.Alternate = GPIO_AF5_SPI2;
  HAL_GPIO_Init(PMOD_SPI2_SCK_GPIO_Port, &GPIO_InitStruct);

  /*Configure GPIO pins : PMOD_UART2_CTS_Pin PMOD_UART2_RTS_Pin PMOD_UART2_TX_Pin PMOD_UART2_RX_Pin */
  GPIO_InitStruct.Pin = PMOD_UART2_CTS_Pin|PMOD_UART2_RTS_Pin|PMOD_UART2_TX_Pin|PMOD_UART2_RX_Pin;
  GPIO_InitStruct.Mode = GPIO_MODE_AF_PP;
  GPIO_InitStruct.Pull = GPIO_NOPULL;
  GPIO_InitStruct.Speed = GPIO_SPEED_FREQ_VERY_HIGH;
  GPIO_InitStruct.Alternate = GPIO_AF7_USART2;
  HAL_GPIO_Init(GPIOD, &GPIO_InitStruct);

  /*Configure GPIO pins : ARD_D15_Pin ARD_D14_Pin */
  GPIO_InitStruct.Pin = ARD_D15_Pin|ARD_D14_Pin;
  GPIO_InitStruct.Mode = GPIO_MODE_AF_OD;
  GPIO_InitStruct.Pull = GPIO_PULLUP;
  GPIO_InitStruct.Speed = GPIO_SPEED_FREQ_VERY_HIGH;
  GPIO_InitStruct.Alternate = GPIO_AF4_I2C1;
  HAL_GPIO_Init(GPIOB, &GPIO_InitStruct);

  /* EXTI interrupt init*/
  HAL_NVIC_SetPriority(EXTI9_5_IRQn, 0, 0);
  HAL_NVIC_EnableIRQ(EXTI9_5_IRQn);

  HAL_NVIC_SetPriority(EXTI15_10_IRQn, 0, 0);
  HAL_NVIC_EnableIRQ(EXTI15_10_IRQn);

}

void Error_Handler(void)
{
}

/************************ (C) COPYRIGHT STMicroelectronics *****END OF FILE****/
